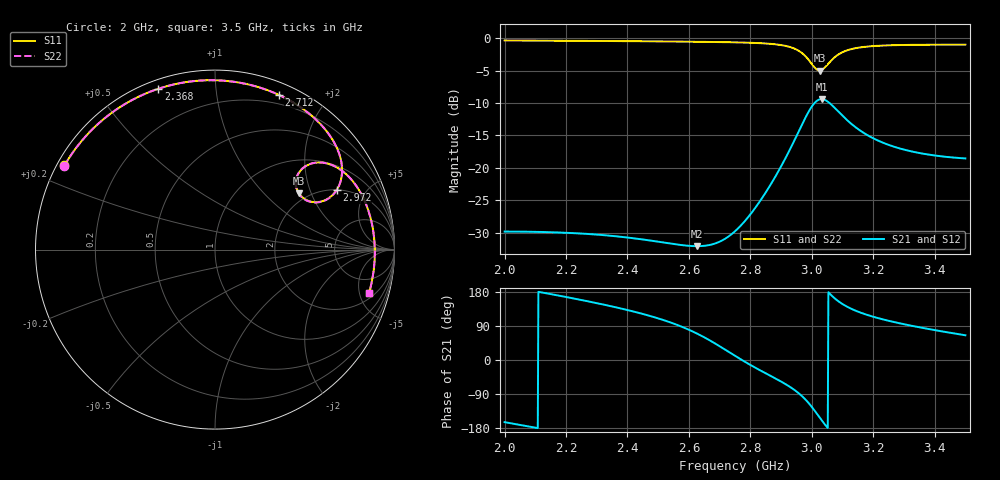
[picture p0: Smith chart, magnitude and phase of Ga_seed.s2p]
! Touchstone file exported from HFSS 2022.1.0
!  File:  C:/Users/Hamza Safder/Downloads/PSF-V2 with holder (2).aedt
!  Generated:  10:46:29 PM  Sep 21, 2023
!  Design:  HFSSDesign1
!  Project:  PSF-V2 with holder (2)
!  Setup:  Setup1
!  Solution:  Sweep
! Variables:
!  WS = 5mm
!  ax = 15mm
!  az = 3.18mm
!  azd = 3mm
!  bx = 13mm
!  bx2 = 12.5mm
!  bx3 = 3.16mm
!  cin = 27.8mm
!  gap = 0.7mm
!  mid = 3mm
!  shift = 21.24mm
!  strip_1L = 18.62mm
!  substrate_L = 80mm
!  substrate_W = 70mm
!  t = 3mm
!  w50 = 9.18mm
!  wt = 1mm
!  xs = 0.8mm
!  zzz = 8mm
# GHz S MA R 50.000000
! Terminal data exported
! Port[1] = ground_T1
! Port[2] = ground_T2
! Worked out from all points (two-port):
!   751 points, 2 GHz to 3.5 GHz, reference 50 ohm
!   highest |S21| = -9.40 dB at 3.032 GHz (marker M1); lowest = -32.1 dB at 2.626 GHz (marker M2)
!   |S21| within 3 dB of the highest: 2.978 GHz to 3.109 GHz (131.7 MHz wide, 4.33 % of centre)
!   lowest |S11| = -5.0 dB at 3.026 GHz (marker M3), VSWR 3.58, Z = 89.2 + j82.1 ohm
!   |S11| at or under -10 dB: nowhere
!   |S22| runs from -5.0 to -0.3 dB; largest |S21 - S12| = 6.3e-15
!   S11 on the Smith chart (normalised r, x): 2 GHz: 0.02, +0.26; 2.368 GHz: 0.04, +0.71; 2.712 GHz: 0.11, +1.49; 2.972 GHz: 2.01, +3.10; 3.5 GHz: 2.63, -6.18
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2  0.9606 150.8  0.03223 -164.0  0.03223 -164.0  0.9605 150.9
! Gamma 0 0 0 0
! Port Impedance 50 0 50 0
2.12  0.9577 137.6  0.03201 178.5  0.03201 178.5  0.9576 137.6
2.25  0.954 123.0  0.03112 158.3  0.03112 158.3  0.9539 123.0
2.368  0.9502 109.4  0.02956 138.0  0.02956 138.0  0.9501 109.4
2.5  0.945 93.8  0.02692 109.8  0.02692 109.8  0.9449 93.9
2.626  0.9388 78.5  0.02487 69.9  0.02487 69.9  0.9386 78.5
2.712  0.9327 67.6  0.02784 30.3  0.02784 30.3  0.9325 67.6
2.75  0.929 62.6  0.0324 11.1  0.0324 11.1  0.9288 62.6
2.824  0.9173 52.2  0.05223 -23.8  0.05223 -23.8  0.9171 52.2
2.904  0.882 39.3  0.1067 -58.7  0.1067 -58.7  0.8815 39.2
2.944  0.8302 31.5  0.1638 -79.3  0.1638 -79.3  0.8295 31.4
2.972  0.7543 26.1  0.225 -98.3  0.225 -98.3  0.7532 26.0
3  0.633 24.7  0.2971 -123.8  0.2971 -123.8  0.6312 24.6
3.026  0.5631 34.0  0.3373 -152.4  0.3373 -152.4  0.5607 34.0
3.032  0.5682 36.7  0.3387 -159.1  0.3387 -159.1  0.5659 36.8
3.048  0.6141 41.8  0.3287 -175.5  0.3287 -175.5  0.6122 41.8
3.066  0.6835 42.7  0.3036 168.9  0.3036 168.9  0.6821 42.8
3.1  0.7798 38.2  0.252 147.6  0.252 147.6  0.779 38.3
3.166  0.8543 27.2  0.1879 122.9  0.1879 122.9  0.8539 27.2
3.25  0.8809 15.1  0.1503 103.5  0.1503 103.5  0.8807 15.1
3.368  0.8904 -0.0  0.1279 83.6  0.1279 83.6  0.8902 -0.0
3.5  0.8917 -15.7  0.1181 65.2  0.1181 65.2  0.8916 -15.7
